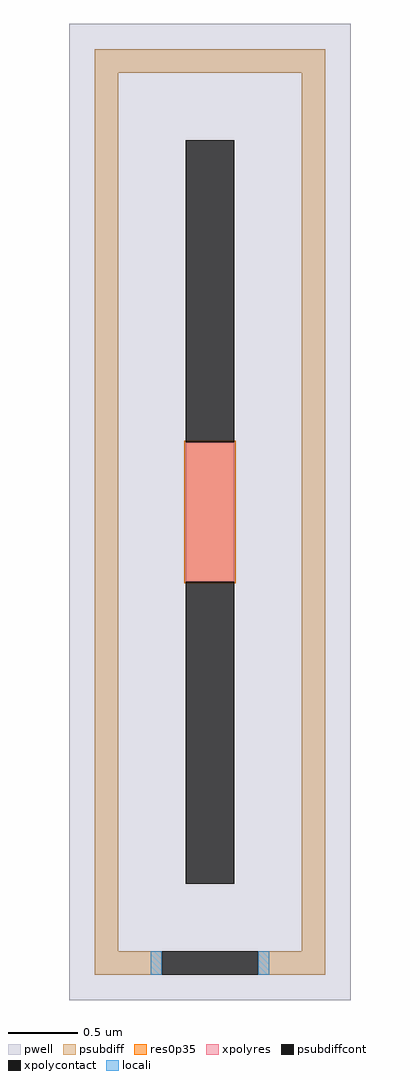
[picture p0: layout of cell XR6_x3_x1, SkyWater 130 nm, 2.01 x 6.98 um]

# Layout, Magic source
magic
tech sky130A
magscale 1 2
<< pwell >>
rect -201 -698 201 698
<< psubdiff >>
rect -165 628 165 662
rect -165 -628 -131 628
rect 131 -628 165 628
rect -165 -662 -69 -628
rect 69 -662 165 -628
<< psubdiffcont >>
rect -69 -662 69 -628
<< xpolycontact >>
rect -35 100 35 532
rect -35 -532 35 -100
<< xpolyres >>
rect -35 -100 35 100
<< locali >>
rect -85 -662 -69 -628
rect 69 -662 85 -628
<< res0p35 >>
rect -37 -102 37 102
<< properties >>
string FIXED_BBOX -148 -645 148 645
<< end >>
